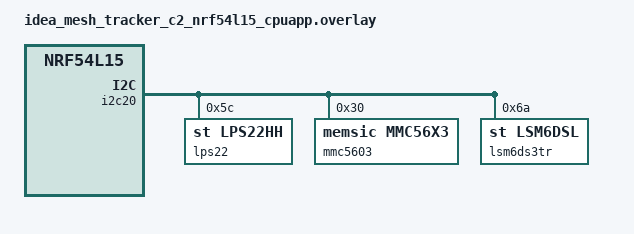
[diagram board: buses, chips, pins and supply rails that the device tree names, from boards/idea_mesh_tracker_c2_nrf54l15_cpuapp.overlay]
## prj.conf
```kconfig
# Logging Management
CONFIG_LOG=y
CONFIG_LOG_MODE_IMMEDIATE=y

# Kernel Management
CONFIG_KERNEL_SHELL=y
CONFIG_POLL=y
CONFIG_HEAP_MEM_POOL_SIZE=16384
CONFIG_ISR_STACK_SIZE=4096
CONFIG_MAIN_STACK_SIZE=4096
CONFIG_SYSTEM_WORKQUEUE_STACK_SIZE=4096

# Shell Management
CONFIG_SHELL=y
CONFIG_SHELL_STACK_SIZE=16384
CONFIG_SHELL_BACKEND_SERIAL=y

# Flash Management
CONFIG_FLASH=y
CONFIG_FLASH_MAP=y
CONFIG_FLASH_PAGE_LAYOUT=y
CONFIG_MPU_ALLOW_FLASH_WRITE=y

# ZMS Management
CONFIG_ZMS=y
CONFIG_ZMS_LOOKUP_CACHE=y
CONFIG_ZMS_LOOKUP_CACHE_SIZE=512
CONFIG_ZMS_LOOKUP_CACHE_FOR_SETTINGS=y

# Settings Management
CONFIG_SETTINGS=y
CONFIG_SETTINGS_ZMS=y
CONFIG_SETTINGS_ZMS_LL_CACHE=y
CONFIG_SETTINGS_ZMS_LL_CACHE_SIZE=512
CONFIG_SETTINGS_SHELL=y
CONFIG_SETTINGS_RUNTIME=y
CONFIG_SETTINGS_DYNAMIC_HANDLERS=y

# Stats
CONFIG_STATS=y
CONFIG_STATS_NAMES=y
CONFIG_STATS_SHELL=y

# Meshbus
CONFIG_MBS=y
CONFIG_MBS_SHELL=y
CONFIG_MBS_STATS=y
CONFIG_MBS_LOG_LEVEL_DBG=y
CONFIG_MBS_TELEMETRY=y
CONFIG_MBS_TELEMETRY_SHELL=y
CONFIG_MBS_TELEMETRY_LOG_LEVEL_DBG=y

# ZBus
CONFIG_ZBUS=y
CONFIG_ZBUS_ASYNC_LISTENER=y
CONFIG_ZBUS_MSG_SUBSCRIBER=y
CONFIG_ZBUS_RUNTIME_OBSERVERS=y
```

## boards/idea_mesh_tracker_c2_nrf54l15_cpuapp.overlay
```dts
/*
 * Copyright (c) 2026 FoBE Studio
 *
 * SPDX-License-Identifier: Apache-2.0
 *
 * Meshbus telemetry channel configuration for idea_mesh_tracker_c2.
 */

#include <zephyr/dt-bindings/sensor/sensor_channel.h>

/ {

	mbs_telemetry: meshbus-telemetry {
		compatible = "fobe,meshbus-telemetry";
		
		ch0 { sensor = <&lps22>; channel = <SENSOR_CHAN_AMBIENT_TEMP>; };
		ch1 { sensor = <&lps22>; channel = <SENSOR_CHAN_PRESS>; };
		ch2 { sensor = <&lsm6ds3tr>; channel = <SENSOR_CHAN_ACCEL_XYZ>; };
		ch3 { sensor = <&lsm6ds3tr>; channel = <SENSOR_CHAN_GYRO_XYZ>; };
		ch4 { sensor = <&mmc5603>; channel = <SENSOR_CHAN_MAGN_XYZ>; };
	};

	chosen {
		meshbus,telemetry = &mbs_telemetry;
	};
};

&i2c20 {
	lps22: lps22hh@5c {
		compatible = "st,lps22hh";
		reg = <0x5c>;
		odr = <1>;
		power-domains = <&peripheral_power>;
	};

	mmc5603: mmc5603@30 {
		compatible = "memsic,mmc56x3";
		reg = <0x30>;
		magn-odr = <0>;
		auto-self-reset;
		power-domains = <&peripheral_power>;
	};

	lsm6ds3tr: lsm6ds3tr@6a {
		compatible = "st,lsm6dsl";
		reg = <0x6a>;
		power-domains = <&peripheral_power>;
	};
};
```

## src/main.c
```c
/*
 * Copyright (c) 2025 FoBE Projects
 *
 * SPDX-License-Identifier: Apache-2.0
 */

/**
 * @file
 * @brief Meshbus subsystem test application
 */

#include <zephyr/kernel.h>
#include <zephyr/logging/log.h>
#include <zephyr/zbus/zbus.h>
#include <zephyr/drivers/sensor.h>
#include <zephyr/sys/printk.h>

#include <telemetry/telemetry.h>

LOG_MODULE_REGISTER(mbs_test, LOG_LEVEL_INF);

static void sensor_value_snprint(char *buf, size_t len, const struct sensor_value *v)
{
	int64_t micro = sensor_value_to_micro(v);
	bool neg = (micro < 0);
	uint64_t abs_micro = (uint64_t)(neg ? -micro : micro);

	uint64_t ip = abs_micro / 1000000ULL;
	uint64_t fp = abs_micro % 1000000ULL;

	(void)snprintk(buf, len, "%s%llu.%06llu", neg ? "-" : "", (unsigned long long)ip,
		       (unsigned long long)fp);
}

static void sensor_values_snprint(char *buf, size_t len, const struct sensor_value *vals,
				  size_t count)
{
	size_t off = 0U;

	if (len == 0U) {
		return;
	}

	off += (size_t)snprintk(buf + off, len - off, "(");
	for (size_t i = 0; i < count && off < len; i++) {
		char vbuf[24];

		sensor_value_snprint(vbuf, sizeof(vbuf), &vals[i]);
		off += (size_t)snprintk(buf + off, len - off, "%s%s", (i == 0U) ? "" : ", ", vbuf);
	}
	(void)snprintk(buf + off, len - off, ")");
}

static void telemetry_data_listener_cb(const struct zbus_channel *chan, const void *message)
{
	if (chan != &mbs_telemetry_data_chan || message == NULL) {
		return;
	}

	const struct mbs_telemetry_data_event *event = message;
	size_t count = MIN((size_t)event->value_count, (size_t)MBS_TELEMETRY_MAX_VALUES);
	char tuple[96];

	sensor_values_snprint(tuple, sizeof(tuple), event->values, count);
	LOG_INF("telemetry: ts=%u chan=%u values=%s", event->timestamp, (unsigned int)event->chan,
		tuple);
}

ZBUS_ASYNC_LISTENER_DEFINE(telemetry_data_listener, telemetry_data_listener_cb);

int main(void)
{
	LOG_INF("Meshbus test application started");
	LOG_INF("Build timestamp: " __DATE__ " " __TIME__);

#ifdef CONFIG_BOOTLOADER_MCUBOOT
	LOG_INF("MCUboot bootloader support enabled");
#endif

	int rc = zbus_chan_add_obs(&mbs_telemetry_data_chan, &telemetry_data_listener,
				   K_MSEC(100));
	if (rc != 0) {
		LOG_ERR("Failed to subscribe telemetry data channel: %d", rc);
	} else {
		LOG_INF("Subscribed to mbs_telemetry_data_chan");
	}

	return 0;
}
```
